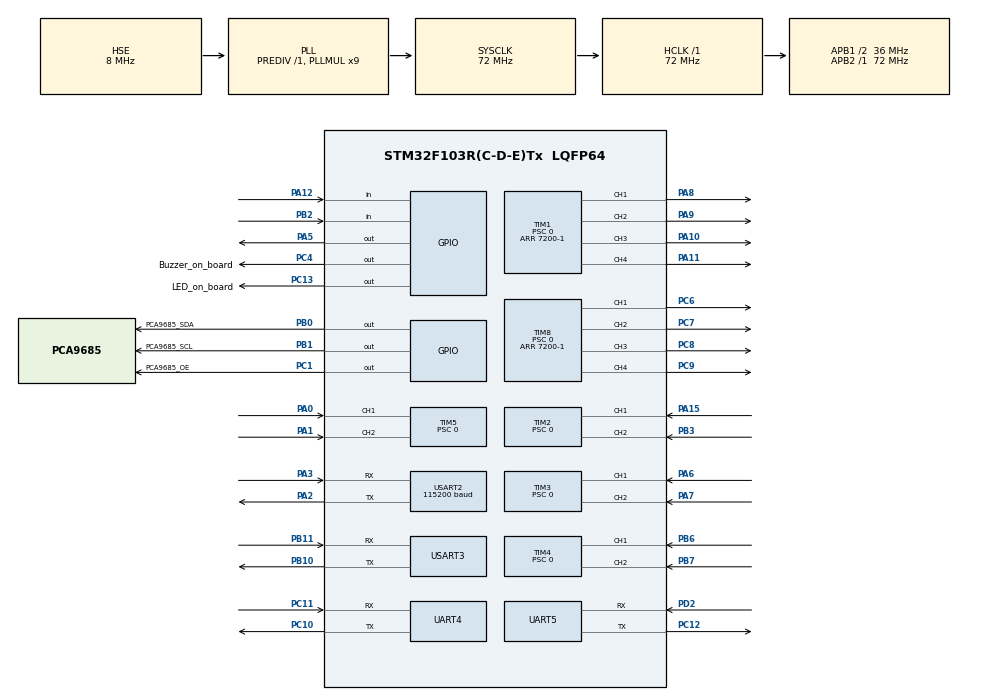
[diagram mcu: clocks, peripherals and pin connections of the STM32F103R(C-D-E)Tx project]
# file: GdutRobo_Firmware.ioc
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Dma.Request0=USART3_RX
Dma.Request1=USART2_RX
Dma.USART2_RX.1.Direction=DMA_PERIPH_TO_MEMORY
Dma.USART2_RX.1.Instance=DMA1_Channel6
Dma.USART2_RX.1.MemDataAlignment=DMA_MDATAALIGN_BYTE
Dma.USART2_RX.1.MemInc=DMA_MINC_ENABLE
Dma.USART2_RX.1.Mode=DMA_NORMAL
Dma.USART2_RX.1.PeriphDataAlignment=DMA_PDATAALIGN_BYTE
Dma.USART2_RX.1.PeriphInc=DMA_PINC_DISABLE
Dma.USART2_RX.1.Priority=DMA_PRIORITY_MEDIUM
Dma.USART3_RX.0.Direction=DMA_PERIPH_TO_MEMORY
Dma.USART3_RX.0.Instance=DMA1_Channel3
Dma.USART3_RX.0.MemDataAlignment=DMA_MDATAALIGN_BYTE
Dma.USART3_RX.0.MemInc=DMA_MINC_ENABLE
Dma.USART3_RX.0.Mode=DMA_NORMAL
Dma.USART3_RX.0.PeriphDataAlignment=DMA_PDATAALIGN_BYTE
Dma.USART3_RX.0.PeriphInc=DMA_PINC_DISABLE
Dma.USART3_RX.0.Priority=DMA_PRIORITY_MEDIUM
Mcu.Family=STM32F1
Mcu.Name=STM32F103R(C-D-E)Tx
Mcu.Package=LQFP64
NVIC.DMA1_Channel3_IRQn=true\:5\:0\:false\:false\:true\:true\:false
NVIC.DMA1_Channel6_IRQn=true\:0\:0\:false\:false\:true\:false\:true
NVIC.PriorityGroup=NVIC_PRIORITYGROUP_4
NVIC.TIM6_IRQn=true\:1\:0\:true\:false\:true\:true\:true
NVIC.UART4_IRQn=true\:0\:0\:true\:false\:false\:true\:false
NVIC.UART5_IRQn=true\:10\:0\:true\:false\:false\:true\:false
NVIC.USART2_IRQn=true\:5\:0\:true\:false\:false\:false\:false
NVIC.USART3_IRQn=true\:4\:0\:true\:false\:false\:false\:true
PA0-WKUP.GPIO_PuPd=GPIO_PULLUP
PA0-WKUP.Signal=S_TIM5_CH1
PA1.GPIO_PuPd=GPIO_PULLUP
PA1.Signal=S_TIM5_CH2
PA10.GPIO_ModeDefaultPP=GPIO_MODE_AF_PP
PA10.Signal=S_TIM1_CH3
PA11.GPIO_ModeDefaultPP=GPIO_MODE_AF_PP
PA11.Signal=S_TIM1_CH4
PA12.GPIO_Mode=GPIO_MODE_INPUT
PA12.GPIO_PuPd=GPIO_NOPULL
PA12.Signal=GPIO_Input
PA13.Mode=Serial_Wire
PA13.Signal=SYS_JTMS-SWDIO
PA14.Mode=Serial_Wire
PA14.Signal=SYS_JTCK-SWCLK
PA15.GPIO_PuPd=GPIO_PULLUP
PA15.Signal=S_TIM2_CH1_ETR
PA2.Mode=Asynchronous
PA2.Signal=USART2_TX
PA3.GPIO_PuPd=GPIO_PULLUP
PA3.Mode=Asynchronous
PA3.Signal=USART2_RX
PA5.GPIO_PuPd=GPIO_NOPULL
PA5.PinState=GPIO_PIN_SET
PA5.Signal=GPIO_Output
PA6.GPIO_PuPd=GPIO_PULLUP
PA6.Signal=S_TIM3_CH1
PA7.GPIO_PuPd=GPIO_PULLUP
PA7.Signal=S_TIM3_CH2
PA8.GPIO_ModeDefaultPP=GPIO_MODE_AF_PP
PA8.Signal=S_TIM1_CH1
PA9.GPIO_ModeDefaultPP=GPIO_MODE_AF_PP
PA9.Signal=S_TIM1_CH2
PB0.GPIO_Label=PCA9685_SDA
PB0.GPIO_PuPd=GPIO_PULLUP
PB0.GPIO_Speed=GPIO_SPEED_FREQ_HIGH
PB0.PinState=GPIO_PIN_SET
PB0.Signal=GPIO_Output
PB1.GPIO_Label=PCA9685_SCL
PB1.GPIO_Speed=GPIO_SPEED_FREQ_HIGH
PB1.Signal=GPIO_Output
PB10.Mode=Asynchronous
PB10.Signal=USART3_TX
PB11.GPIO_PuPd=GPIO_PULLUP
PB11.Mode=Asynchronous
PB11.Signal=USART3_RX
PB2.GPIO_Mode=GPIO_MODE_INPUT
PB2.GPIO_PuPd=GPIO_NOPULL
PB2.Signal=GPIO_Input
PB3.GPIO_PuPd=GPIO_PULLUP
PB3.Signal=S_TIM2_CH2
PB6.GPIO_PuPd=GPIO_PULLUP
PB6.Signal=S_TIM4_CH1
PB7.GPIO_PuPd=GPIO_PULLUP
PB7.Signal=S_TIM4_CH2
PC1.GPIO_Label=PCA9685_OE
PC1.Signal=GPIO_Output
PC10.Mode=Asynchronous
PC10.Signal=UART4_TX
PC11.GPIO_PuPd=GPIO_PULLUP
PC11.Mode=Asynchronous
PC11.Signal=UART4_RX
PC12.Mode=Asynchronous
PC12.Signal=UART5_TX
PC13-TAMPER-RTC.GPIO_Label=LED_on_board
PC13-TAMPER-RTC.GPIO_Speed=GPIO_SPEED_FREQ_LOW
PC13-TAMPER-RTC.Signal=GPIO_Output
PC4.GPIO_Label=Buzzer_on_board
PC4.PinState=GPIO_PIN_SET
PC4.Signal=GPIO_Output
PC6.Signal=S_TIM8_CH1
PC7.Signal=S_TIM8_CH2
PC8.Signal=S_TIM8_CH3
PC9.Signal=S_TIM8_CH4
PD0-OSC_IN.Mode=HSE-External-Oscillator
PD0-OSC_IN.Signal=RCC_OSC_IN
PD1-OSC_OUT.Mode=HSE-External-Oscillator
PD1-OSC_OUT.Signal=RCC_OSC_OUT
PD2.GPIO_PuPd=GPIO_PULLUP
PD2.Mode=Asynchronous
PD2.Signal=UART5_RX
ProjectManager.HeapSize=0x400
ProjectManager.StackSize=0x800
ProjectManager.TargetToolchain=MDK-ARM V5.27
RCC.AHBFreq_Value=72000000
RCC.APB1CLKDivider=RCC_HCLK_DIV2
RCC.APB1Freq_Value=36000000
RCC.APB1TimFreq_Value=72000000
RCC.APB2Freq_Value=72000000
RCC.APB2TimFreq_Value=72000000
RCC.HCLKFreq_Value=72000000
RCC.PLLMUL=RCC_PLL_MUL9
RCC.PLLSourceVirtual=RCC_PLLSOURCE_HSE
RCC.SYSCLKFreq_VALUE=72000000
RCC.SYSCLKSource=RCC_SYSCLKSOURCE_PLLCLK
RCC.USBFreq_Value=72000000
SH.S_TIM1_CH1.0=TIM1_CH1,PWM Generation1 CH1
SH.S_TIM1_CH2.0=TIM1_CH2,PWM Generation2 CH2
SH.S_TIM1_CH3.0=TIM1_CH3,PWM Generation3 CH3
SH.S_TIM1_CH4.0=TIM1_CH4,PWM Generation4 CH4
SH.S_TIM2_CH1_ETR.0=TIM2_CH1,Encoder_Interface
SH.S_TIM2_CH2.0=TIM2_CH2,Encoder_Interface
SH.S_TIM3_CH1.0=TIM3_CH1,Encoder_Interface
SH.S_TIM3_CH2.0=TIM3_CH2,Encoder_Interface
SH.S_TIM4_CH1.0=TIM4_CH1,Encoder_Interface
SH.S_TIM4_CH2.0=TIM4_CH2,Encoder_Interface
SH.S_TIM5_CH1.0=TIM5_CH1,Encoder_Interface
SH.S_TIM5_CH2.0=TIM5_CH2,Encoder_Interface
SH.S_TIM8_CH1.0=TIM8_CH1,PWM Generation1 CH1
SH.S_TIM8_CH2.0=TIM8_CH2,PWM Generation2 CH2
SH.S_TIM8_CH3.0=TIM8_CH3,PWM Generation3 CH3
SH.S_TIM8_CH4.0=TIM8_CH4,PWM Generation4 CH4
TIM1.AutoReloadPreload=TIM_AUTORELOAD_PRELOAD_ENABLE
TIM1.Channel-PWM\ Generation1\ CH1=TIM_CHANNEL_1
TIM1.Channel-PWM\ Generation2\ CH2=TIM_CHANNEL_2
TIM1.Channel-PWM\ Generation3\ CH3=TIM_CHANNEL_3
TIM1.Channel-PWM\ Generation4\ CH4=TIM_CHANNEL_4
TIM1.Period=7200-1
TIM1.Prescaler=0
TIM2.EncoderMode=TIM_ENCODERMODE_TI12
TIM2.IC1Filter=12
TIM2.IC2Filter=12
TIM2.Period=65535
TIM2.Prescaler=0
TIM3.EncoderMode=TIM_ENCODERMODE_TI12
TIM3.IC1Filter=12
TIM3.IC2Filter=12
TIM3.Period=65535
TIM3.Prescaler=0
TIM4.EncoderMode=TIM_ENCODERMODE_TI12
TIM4.IC1Filter=12
TIM4.IC2Filter=12
TIM4.Period=65535
TIM4.Prescaler=0
TIM5.EncoderMode=TIM_ENCODERMODE_TI12
TIM5.IC1Filter=12
TIM5.IC2Filter=12
TIM5.Period=65535
TIM5.Prescaler=0
TIM6.AutoReloadPreload=TIM_AUTORELOAD_PRELOAD_ENABLE
TIM6.Period=5000-1
TIM6.Prescaler=72-1
TIM8.AutoReloadPreload=TIM_AUTORELOAD_PRELOAD_ENABLE
TIM8.Channel-PWM\ Generation1\ CH1=TIM_CHANNEL_1
TIM8.Channel-PWM\ Generation2\ CH2=TIM_CHANNEL_2
TIM8.Channel-PWM\ Generation3\ CH3=TIM_CHANNEL_3
TIM8.Channel-PWM\ Generation4\ CH4=TIM_CHANNEL_4
TIM8.Period=7200-1
TIM8.Prescaler=0
UART4.VirtualMode=Asynchronous
UART5.VirtualMode=Asynchronous
USART2.BaudRate=115200
USART2.VirtualMode=VM_ASYNC
USART3.VirtualMode=VM_ASYNC
VP_TIM1_VS_ClockSourceINT.Mode=Internal
VP_TIM6_VS_ClockSourceINT.Mode=Enable_Timer
VP_TIM8_VS_ClockSourceINT.Mode=Internal
board=custom

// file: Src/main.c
/* USER CODE BEGIN Header */
/**
  ******************************************************************************
  * @file           : main.c
  * @brief          : Main program body
  ******************************************************************************
  * @attention
  *
  * <h2><center>&copy; Copyright (c) 2020 STMicroelectronics.
  * All rights reserved.</center></h2>
  *
  * This software component is licensed by ST under BSD 3-Clause license,
  * the "License"; You may not use this file except in compliance with the
  * License. You may obtain a copy of the License at:
  *                        opensource.org/licenses/BSD-3-Clause
  *
  ******************************************************************************
  */
/* USER CODE END Header */
#include "main.h"
#include "dma.h"
#include "tim.h"
#include "usart.h"
#include "gpio.h"

/* USER CODE BEGIN Includes */
#include "string.h"
#include "bsp_imu.h"
#include "openmv.h"
#include "bsp_buzzer.h"
#include "bsp_led.h"
#include "bsp_servo_iic.h"
#include "bsp_delay.h"
#include "bsp_motor.h"
#include "bsp_linefollower.h"
#include "pid.h"
#include "usmart.h"
#include "sin_generate.h"
#include "turn.h"
#include "tim_it.h"
#include "map.h"
#include "barrier.h"
#include "speed_ctrl.h"
#include "motion.h"
#include "QR_action.h"
#include "stdio.h"
/* USER CODE END Includes */

void SystemClock_Config(void);

int main(void)
{
  /* USER CODE BEGIN 1 */
	float mpuZ_reset_val = 0;

  /* USER CODE END 1 */

  /* MCU Configuration--------------------------------------------------------*/

  /* Reset of all peripherals, Initializes the Flash interface and the Systick. */
  HAL_Init();

  /* Configure the system clock */
  SystemClock_Config();

  /* Initialize all configured peripherals */
  MX_GPIO_Init();
  MX_DMA_Init();
  MX_USART2_UART_Init();
  MX_USART3_UART_Init();
  MX_UART4_Init();
  MX_UART5_Init();
  MX_TIM1_Init();
  MX_TIM2_Init();
  MX_TIM3_Init();
  MX_TIM4_Init();
  MX_TIM5_Init();
  MX_TIM6_Init();
  MX_TIM8_Init();
  /* USER CODE BEGIN 2 */

	delay_init();
	pca_init(50,90);
	motor_pwm_enable();
	LFB_receive_init();
	pid_init();
	imu_receive_init();
	openmv_receive_init();
	QR_receive_init();

	mapInit();
	delay_ms(500);
	delay_ms(500);
	//陀螺仪角度复位，采样10次取平均值
	for (int i = 0; i<10; i++)
	{
		delay_ms(20);
		mpuZ_reset_val += imu.yaw;
		imu.compensatePitch += imu.pitch;
	}
	mpuZ_reset_val /= 10;   // 这是当前的0°角
	mpuZreset(mpuZ_reset_val, nodesr.nowNode.angle);
	imu.compensatePitch /= 10;

	HAL_TIM_Base_Start_IT(&htim6);  //使能定时器6中断

	LED_on();          //亮灯

	/*******机器人的起始动作********/
	Shine_o_f();       //闪灯一次
	actions(5);        //起身
  HAL_Delay(500);
	actions(0);        //两次摇头
//	actions(6);        //落下
	buzzer_on();
	HAL_Delay(200);
	buzzer_off();
	/*******************************/

//	myAction();

//					/******************电机检测程序*********************/
//					while(1)
//					{
//							motor_set_pwm(1,-2000);
//							motor_set_pwm(2,-2000);
//							motor_set_pwm(3,-2000);
//							motor_set_pwm(4,-2000);
//					}
//				/****************************************************/

	//等待禁行板
	while (Infrared_ahead == 0);  //此时前方无挡板
	while (Infrared_ahead == 1);   //此时前方有挡板

	//if(nodesr.nowNode.nodenum==N3)//为测试方便，如果是P2平台，才需要做准备动作

		pid_mode_switch(is_Line);
		motor_all.Cspeed = 40;

		/******判断小车正在下平台*******/
//	  while (imu.pitch < 10);
//		while (imu.pitch > 10);
		actions(6);        //落下

		/*******************************/

  /* USER CODE END 2 */

  /* Infinite loop */
  while (1)
  {

    /* USER CODE BEGIN 3 */
		Cross();
//	  if (route[map.point-1]==0XFF && map.routetime==1)
//	  {

//			/*******机器人的起始动作********/
//			Shine_o_f();       //闪灯一次
//			actions(5);        //起身
//			actions(0);        //两次摇头
//			actions(6);        //落下
//			buzzer_on();
//			HAL_Delay(200);
//			buzzer_off();
//			/*******************************/
//
//			nodesr.nowNode.nodenum = N2;		//起始点
//			nodesr.nowNode.angle = 0;		//起始角度
//			nodesr.nowNode.function = 1;	//起始函数
//			nodesr.nowNode.speed = 80;//60
//			nodesr.nowNode.step=40;//30
//			nodesr.nowNode.flag = CLEFT|RIGHT_LINE;
//
//		  //等待禁行板
//		  while (Infrared_ahead == 0);
//		  while (Infrared_ahead == 1);
//		  ++map.routetime;
//		  map.point = 0;
//
//		  motor_all.Cspeed = 10;
//		  pid_mode_switch(is_Line);
//		  motor_all.Cincrement = 1.5;
//		  motor_all.Gincrement = 2;
//		  while (imu.pitch < 10);
//		  while (imu.pitch > 10);
//	  }
  }
  /* USER CODE END 3 */
}

void SystemClock_Config(void)
{
  RCC_OscInitTypeDef RCC_OscInitStruct = {0};
  RCC_ClkInitTypeDef RCC_ClkInitStruct = {0};

  /** Initializes the RCC Oscillators according to the specified parameters
  * in the RCC_OscInitTypeDef structure.
  */
  RCC_OscInitStruct.OscillatorType = RCC_OSCILLATORTYPE_HSE;
  RCC_OscInitStruct.HSEState = RCC_HSE_ON;
  RCC_OscInitStruct.HSEPredivValue = RCC_HSE_PREDIV_DIV1;
  RCC_OscInitStruct.HSIState = RCC_HSI_ON;
  RCC_OscInitStruct.PLL.PLLState = RCC_PLL_ON;
  RCC_OscInitStruct.PLL.PLLSource = RCC_PLLSOURCE_HSE;
  RCC_OscInitStruct.PLL.PLLMUL = RCC_PLL_MUL9;
  if (HAL_RCC_OscConfig(&RCC_OscInitStruct) != HAL_OK)
  {
    Error_Handler();
  }
  /** Initializes the CPU, AHB and APB buses clocks
  */
  RCC_ClkInitStruct.ClockType = RCC_CLOCKTYPE_HCLK|RCC_CLOCKTYPE_SYSCLK
                              |RCC_CLOCKTYPE_PCLK1|RCC_CLOCKTYPE_PCLK2;
  RCC_ClkInitStruct.SYSCLKSource = RCC_SYSCLKSOURCE_PLLCLK;
  RCC_ClkInitStruct.AHBCLKDivider = RCC_SYSCLK_DIV1;
  RCC_ClkInitStruct.APB1CLKDivider = RCC_HCLK_DIV2;
  RCC_ClkInitStruct.APB2CLKDivider = RCC_HCLK_DIV1;

  if (HAL_RCC_ClockConfig(&RCC_ClkInitStruct, FLASH_LATENCY_2) != HAL_OK)
  {
    Error_Handler();
  }
}

void Error_Handler(void)
{
  /* USER CODE BEGIN Error_Handler_Debug */
  /* User can add his own implementation to report the HAL error return state */
	buzzer_on();
	delay_ms(2000);
	buzzer_off();

  /* USER CODE END Error_Handler_Debug */
}

/************************ (C) COPYRIGHT STMicroelectronics *****END OF FILE****/
